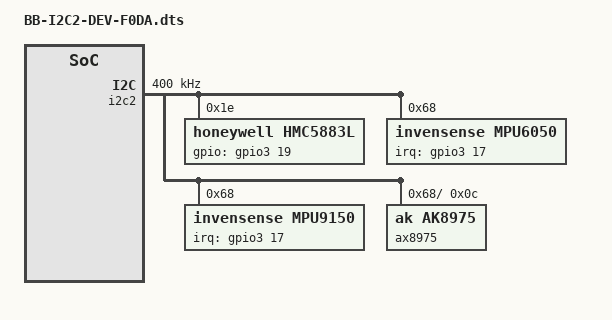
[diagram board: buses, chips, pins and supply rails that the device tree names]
/*
 * Copyright (C) 2015 Robert Nelson <robertcnelson@gmail.com>
 *
 * This program is free software; you can redistribute it and/or modify
 * it under the terms of the GNU General Public License version 2 as
 * published by the Free Software Foundation.
 */
/dts-v1/;
/plugin/;

#include <dt-bindings/board/am335x-bbw-bbb-base.h>
#include <dt-bindings/gpio/gpio.h>
#include <dt-bindings/pinctrl/am33xx.h>

/ {
	compatible = "ti,beaglebone", "ti,beaglebone-black", "ti,beaglebone-green";

	/* identification */
	part-number = "BB-I2C2-DEV";
	version = "F0DA";

	/* state the resources this cape uses */
	exclusive-use =
		/* the pin header uses */
		"P9.19",	/* i2c2_scl  */
		"P9.20",	/* i2c2_sda */
		"P9.27",	/* hmc5883L-drdy: gpio3_19 */
		"P9.28",	/* mpu6050-drdy: gpio3_17 */
		"gpio3_19",
		"gpio3_17",
		"i2c2";


//	fragment@0 {
//		target-path="/";
//		__overlay__ {
//
//			aliases {
//				rtc0 = "/ocp/i2c@4802a000/mcp7940x@68";
//				rtc1 = "/ocp/rtc@44e3e000";
//			};
//		};
//	};

	fragment@0 {
		target = <&am33xx_pinmux>;
		__overlay__ {

			bb_gpio3_19_pins: pinmux_bb_gpio3_19_pins {
				pinctrl-single,pins = <
					BONE_P9_27 (PIN_INPUT | MUX_MODE7) /* gpmc_csn0.gpio3_19 */
				>;
			};
			
			bb_gpio3_17_pins: pinmux_bb_gpio3_17_pins {
                                pinctrl-single,pins = <
                                        BONE_P9_28 (PIN_INPUT | MUX_MODE7) /* gpmc_csn0.gpio3_17 */
                                >;
                        };			

			bb_i2c2_pins: pinmux_bb_i2c2_pins {
				pinctrl-single,pins = <
					BONE_P9_20 (SLEWCTRL_SLOW | PIN_INPUT_PULLUP | MUX_MODE3) /* spi0_d1.i2c2_sda */
					BONE_P9_19 (SLEWCTRL_SLOW | PIN_INPUT_PULLUP | MUX_MODE3) /* spi0_cs0.i2c2_scl */
				>;
			};
		};
	};

//	fragment@1 {
//		target-path="/";
//		__overlay__ {
//
//			gpio_keys {
//				compatible = "gpio-keys";
//				pinctrl-names = "default";
//				pinctrl-0 = <&bb_gpio3_19_pins>;
//
//				/* avoid stupid warning */
//				#address-cells = <1>;
//				#size-cells = <0>;
//
//				rtc_mfp@1 {
//					label = "rtc_mfp";
//					gpios = <&gpio3 19 GPIO_ACTIVE_HIGH>;
//					linux,code = <143>; /* System Wake Up */
//					gpio-key,wakeup;
//				};
//			};
//		};
//	};

	fragment@1 {
		target = <&i2c2>;
		__overlay__ {
			status = "okay";
			pinctrl-names = "default";
			pinctrl-0 = <&bb_i2c2_pins>;

			clock-frequency = <400000>;

			#address-cells = <1>;
			#size-cells = <0>;

			hmc5883l: mag@1e {
				compatible = "honeywell,hmc5883l";
				reg = <0x1e>;
				gpios = <&gpio3 19  GPIO_ACTIVE_HIGH>;
			};
			mpu6050: imu@68 {
				compatible = "invensense,mpu6050";      
				reg = <0x68>;                           
				interrupt-parent = <&gpio3>;
				interrupts = <17 1>;
			};
			mpu9150@68 {
				compatible = "invensense,mpu9150";
				reg = <0x68>;	
				interrupt-parent = <&gpio3>;
				interrupts = <17 1>;
				i2c-gate {
					#address-cells = <1>;
					#size-cells = <0>;
					ax8975@c {
					compatible = "ak,ak8975";
					reg = <0x0c>;
					};
				};
			};

			/*
			pressure@77 {
				compatible = "bosch,bmp180";
				reg = <0x77>;
				chip-id = <10>;
				temp-measurement-period = <100>;
				default-oversampling = <2>;
				interrupt-parent = <&gpio3>;	
				interrupts = <17 1>;
			};			
			ads1115@49 {
				compatible = "ti,ads1115";
				reg = <0x49>;
				#address-cells = <1>;
				#size-cells = <0>;
			                          
				channel@4 {
					reg = <4>;
					ti,gain = <0>;
					ti,datarate = <5>;
					};
                                channel@5 {
                                        reg = <5>;
                                        ti,gain = <0>;
                                        ti,datarate = <5>;
                                        };        
                                channel@6 {
                                        reg = <6>;
                                        ti,gain = <0>;
                                        ti,datarate = <5>;
                                        };
                                channel@7{
                                        reg = <7>;
                                        ti,gain = <0>;
                                        ti,datarate = <5>;
                                        };
			};
			*/                    
		};
	};

//	fragment@2 {
//		target-path="/";
//		__overlay__ {                        
//                        trig0: interrupt-trigger0 {
//                               #io-trigger-cells = <0>;
//                               compatible = "iio_interrupt_trigger";
//                               interrupts = <19 IRQ_TYPE_EDGE_FALLING>;
//                               interrupt-parent = <&gpio3>;
//                        };
//		};
//	};

};
